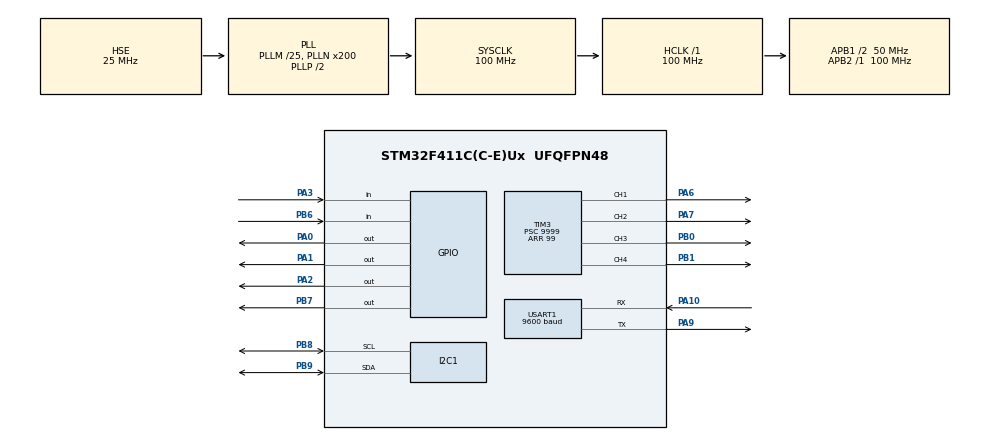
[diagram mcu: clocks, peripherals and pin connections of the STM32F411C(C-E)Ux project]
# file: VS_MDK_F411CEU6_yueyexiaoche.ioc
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Dma.Request0=USART1_RX
Dma.USART1_RX.0.Direction=DMA_PERIPH_TO_MEMORY
Dma.USART1_RX.0.FIFOMode=DMA_FIFOMODE_DISABLE
Dma.USART1_RX.0.Instance=DMA2_Stream2
Dma.USART1_RX.0.MemDataAlignment=DMA_MDATAALIGN_BYTE
Dma.USART1_RX.0.MemInc=DMA_MINC_ENABLE
Dma.USART1_RX.0.Mode=DMA_NORMAL
Dma.USART1_RX.0.PeriphDataAlignment=DMA_PDATAALIGN_BYTE
Dma.USART1_RX.0.PeriphInc=DMA_PINC_DISABLE
Dma.USART1_RX.0.Priority=DMA_PRIORITY_LOW
FREERTOS.BinarySemaphores01=Juli,Dynamic,NULL,Available
FREERTOS.Mutexes01=Shoujifasong,Dynamic,NULL,Available
FREERTOS.Queues01=Zonghuiduzhi,1,uint32_t,0,Dynamic,NULL,NULL;AX,1,int32_t,0,Dynamic,NULL,NULL;AY,1,int32_t,0,Dynamic,NULL,NULL;GZ,1,int32_t,0,Dynamic,NULL,NULL;H1,1,uint8_t,0,Dynamic,NULL,NULL;H2,1,uint8_t,0,Dynamic,NULL,NULL;H3,1,uint8_t,0,Dynamic,NULL,NULL;H4,1,uint8_t,0,Dynamic,NULL,NULL;H5,1,uint8_t,0,Dynamic,NULL,NULL;H6,1,uint8_t,0,Dynamic,NULL,NULL;H7,1,uint8_t,0,Dynamic,NULL,NULL;H8,1,uint8_t,0,Dynamic,NULL,NULL
FREERTOS.Tasks01=Chaoshenbo,38,256,StartChaoshenbo,Default,NULL,Dynamic,NULL,NULL;Huidu,29,256,StartHuidu,Default,NULL,Dynamic,NULL,NULL;Tuoluoyi,28,512,StartTuoluoyi,Default,NULL,Dynamic,NULL,NULL;Yundong,48,512,StartYundong,Default,NULL,Dynamic,NULL,NULL;Lanyatouchuan,9,512,StartLanyatouchuan,Default,NULL,Dynamic,NULL,NULL;Yaokong,52,1024,StartYaokong,Default,NULL,Dynamic,NULL,NULL;Qiehuan,19,256,StartQiehuan,Default,NULL,Dynamic,NULL,NULL;Jieshou,22,300,StartJieshou,Default,NULL,Dynamic,NULL,NULL
FREERTOS.configENABLE_FPU=1
FREERTOS.configTOTAL_HEAP_SIZE=19960
Mcu.Family=STM32F4
Mcu.Name=STM32F411C(C-E)Ux
Mcu.Package=UFQFPN48
NVIC.DMA2_Stream2_IRQn=true\:5\:0\:false\:false\:true\:true\:false\:true\:true
NVIC.I2C1_ER_IRQn=true\:5\:0\:false\:false\:true\:true\:true\:true\:true
NVIC.I2C1_EV_IRQn=true\:5\:0\:false\:false\:true\:true\:true\:true\:true
NVIC.PriorityGroup=NVIC_PRIORITYGROUP_4
NVIC.TIM1_UP_TIM10_IRQn=true\:15\:0\:false\:false\:true\:false\:false\:true\:true
NVIC.TimeBase=TIM1_UP_TIM10_IRQn
NVIC.TimeBaseIP=TIM10
NVIC.USART1_IRQn=true\:5\:0\:false\:false\:true\:true\:true\:true\:true
PA0-WKUP.GPIO_Speed=GPIO_SPEED_FREQ_HIGH
PA0-WKUP.Signal=GPIO_Output
PA1.GPIO_Speed=GPIO_SPEED_FREQ_HIGH
PA1.Signal=GPIO_Output
PA10.Mode=Asynchronous
PA10.Signal=USART1_RX
PA13.Mode=Serial_Wire
PA13.Signal=SYS_JTMS-SWDIO
PA14.Mode=Serial_Wire
PA14.Signal=SYS_JTCK-SWCLK
PA2.GPIO_Speed=GPIO_SPEED_FREQ_HIGH
PA2.Signal=GPIO_Output
PA3.Signal=GPIO_Input
PA6.Signal=S_TIM3_CH1
PA7.Signal=S_TIM3_CH2
PA9.Mode=Asynchronous
PA9.Signal=USART1_TX
PB0.Signal=S_TIM3_CH3
PB1.Signal=S_TIM3_CH4
PB6.Signal=GPIO_Input
PB7.GPIO_Speed=GPIO_SPEED_FREQ_HIGH
PB7.Signal=GPIO_Output
PB8.GPIO_Pu=GPIO_PULLUP
PB8.GPIO_Speed=GPIO_SPEED_FREQ_HIGH
PB8.Mode=I2C
PB8.Signal=I2C1_SCL
PB9.GPIO_Pu=GPIO_PULLUP
PB9.GPIO_Speed=GPIO_SPEED_FREQ_HIGH
PB9.Mode=I2C
PB9.Signal=I2C1_SDA
PC14-OSC32_IN.Mode=LSE-External-Oscillator
PC14-OSC32_IN.Signal=RCC_OSC32_IN
PC15-OSC32_OUT.Mode=LSE-External-Oscillator
PC15-OSC32_OUT.Signal=RCC_OSC32_OUT
PH0\ -\ OSC_IN.Mode=HSE-External-Oscillator
PH0\ -\ OSC_IN.Signal=RCC_OSC_IN
PH1\ -\ OSC_OUT.Mode=HSE-External-Oscillator
PH1\ -\ OSC_OUT.Signal=RCC_OSC_OUT
ProjectManager.HeapSize=0x200
ProjectManager.StackSize=0x400
ProjectManager.TargetToolchain=MDK-ARM V5.32
RCC.48MHZClocksFreq_Value=50000000
RCC.AHBFreq_Value=100000000
RCC.APB1CLKDivider=RCC_HCLK_DIV2
RCC.APB1Freq_Value=50000000
RCC.APB1TimFreq_Value=100000000
RCC.APB2Freq_Value=100000000
RCC.APB2TimFreq_Value=100000000
RCC.CortexFreq_Value=100000000
RCC.HCLKFreq_Value=100000000
RCC.HSE_VALUE=25000000
RCC.HSI_VALUE=16000000
RCC.PLLM=25
RCC.PLLN=200
RCC.PLLSourceVirtual=RCC_PLLSOURCE_HSE
RCC.SYSCLKFreq_VALUE=100000000
RCC.SYSCLKSource=RCC_SYSCLKSOURCE_PLLCLK
RCC.VCOOutputFreq_Value=200000000
SH.S_TIM3_CH1.0=TIM3_CH1,PWM Generation1 CH1
SH.S_TIM3_CH2.0=TIM3_CH2,PWM Generation2 CH2
SH.S_TIM3_CH3.0=TIM3_CH3,PWM Generation3 CH3
SH.S_TIM3_CH4.0=TIM3_CH4,PWM Generation4 CH4
TIM11.Prescaler=99
TIM3.Channel-PWM\ Generation1\ CH1=TIM_CHANNEL_1
TIM3.Channel-PWM\ Generation2\ CH2=TIM_CHANNEL_2
TIM3.Channel-PWM\ Generation3\ CH3=TIM_CHANNEL_3
TIM3.Channel-PWM\ Generation4\ CH4=TIM_CHANNEL_4
TIM3.Period=99
TIM3.Prescaler=9999
USART1.BaudRate=9600
USART1.VirtualMode=VM_ASYNC
VP_FREERTOS_VS_CMSIS_V2.Mode=CMSIS_V2
VP_SYS_VS_tim10.Mode=TIM10
VP_TIM11_VS_ClockSourceINT.Mode=Enable_Timer
VP_TIM3_VS_ClockSourceINT.Mode=Internal
board=custom

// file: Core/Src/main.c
/* USER CODE BEGIN Header */
/**
  ******************************************************************************
  * @file           : main.c
  * @brief          : Main program body
  ******************************************************************************
  * @attention
  *
  * Copyright (c) 2026 STMicroelectronics.
  * All rights reserved.
  *
  * This software is licensed under terms that can be found in the LICENSE file
  * in the root directory of this software component.
  * If no LICENSE file comes with this software, it is provided AS-IS.
  *
  ******************************************************************************
  */
/* USER CODE END Header */
#include "main.h"
#include "cmsis_os.h"

/* USER CODE BEGIN Includes */

#include "cmsis_os2.h"
#include "stm32f4xx_hal_tim.h"
#include "han_shu.h"
#include "stm32f4xx_hal_uart.h"
#include <stdint.h>
#include <string.h>
#include <stdio.h>
#include <stdarg.h>

//#include <sys/_intsup.h>

//cmake --build build/Debug --target flash

/* USER CODE END Includes */

I2C_HandleTypeDef hi2c1;

TIM_HandleTypeDef htim3;
TIM_HandleTypeDef htim11;

UART_HandleTypeDef huart1;
DMA_HandleTypeDef hdma_usart1_rx;

/* Definitions for Chaoshenbo */
osThreadId_t ChaoshenboHandle;
const osThreadAttr_t Chaoshenbo_attributes = {
  .name = "Chaoshenbo",
  .stack_size = 256 * 4,
  .priority = (osPriority_t) osPriorityAboveNormal6,
};
/* Definitions for Huidu */
osThreadId_t HuiduHandle;
const osThreadAttr_t Huidu_attributes = {
  .name = "Huidu",
  .stack_size = 256 * 4,
  .priority = (osPriority_t) osPriorityNormal5,
};
/* Definitions for Tuoluoyi */
osThreadId_t TuoluoyiHandle;
const osThreadAttr_t Tuoluoyi_attributes = {
  .name = "Tuoluoyi",
  .stack_size = 512 * 4,
  .priority = (osPriority_t) osPriorityNormal4,
};
/* Definitions for Yundong */
osThreadId_t YundongHandle;
const osThreadAttr_t Yundong_attributes = {
  .name = "Yundong",
  .stack_size = 512 * 4,
  .priority = (osPriority_t) osPriorityRealtime,
};
/* Definitions for Lanyatouchuan */
osThreadId_t LanyatouchuanHandle;
const osThreadAttr_t Lanyatouchuan_attributes = {
  .name = "Lanyatouchuan",
  .stack_size = 512 * 4,
  .priority = (osPriority_t) osPriorityLow1,
};
/* Definitions for Yaokong */
osThreadId_t YaokongHandle;
const osThreadAttr_t Yaokong_attributes = {
  .name = "Yaokong",
  .stack_size = 1024 * 4,
  .priority = (osPriority_t) osPriorityRealtime4,
};
/* Definitions for Qiehuan */
osThreadId_t QiehuanHandle;
const osThreadAttr_t Qiehuan_attributes = {
  .name = "Qiehuan",
  .stack_size = 256 * 4,
  .priority = (osPriority_t) osPriorityBelowNormal3,
};
/* Definitions for Jieshou */
osThreadId_t JieshouHandle;
const osThreadAttr_t Jieshou_attributes = {
  .name = "Jieshou",
  .stack_size = 300 * 4,
  .priority = (osPriority_t) osPriorityBelowNormal6,
};
/* Definitions for Zonghuiduzhi */
osMessageQueueId_t ZonghuiduzhiHandle;
const osMessageQueueAttr_t Zonghuiduzhi_attributes = {
  .name = "Zonghuiduzhi"
};
/* Definitions for AX */
osMessageQueueId_t AXHandle;
const osMessageQueueAttr_t AX_attributes = {
  .name = "AX"
};
/* Definitions for AY */
osMessageQueueId_t AYHandle;
const osMessageQueueAttr_t AY_attributes = {
  .name = "AY"
};
/* Definitions for GZ */
osMessageQueueId_t GZHandle;
const osMessageQueueAttr_t GZ_attributes = {
  .name = "GZ"
};
/* Definitions for Shoujifasong */
osMutexId_t ShoujifasongHandle;
const osMutexAttr_t Shoujifasong_attributes = {
  .name = "Shoujifasong"
};
/* Definitions for Juli */
osSemaphoreId_t JuliHandle;
const osSemaphoreAttr_t Juli_attributes = {
  .name = "Juli"
};
/* USER CODE BEGIN PV */

//extern volatile int yuansudu = 60;//电机基础转速(原始速度), 作为Dianjisudu()的速度基准值
//extern CARSTATE CarState = STATE_XUNJI;  // 初始状态为循迹

volatile uint32_t zhi_2;   //全局变量，存储从消息队列中获取的值，以便在Yundong线程中使用

// --- DMA 非阻塞 printf 相关 ---
DMA_HandleTypeDef hdma_usart1_tx;               // USART1_TX DMA 句柄
static char debug_tx_buf[384];                   // 格式化缓冲区
static volatile uint8_t debug_tx_busy = 0;       // DMA 发送忙标志
volatile int16_t AX,AY,GZ;  //全局变量，存储加速度和陀螺仪原始值，以便在Tuoluoyi线程中使用
volatile int16_t ax,ay,gz;  //全局变量，存储从消息队列中获取的加速度和陀螺仪原始值，以便在Lanyatouchuan线程中使用
volatile uint8_t yaokong_flag=0;  //全局变量，存储遥控标志，以便在Yaokong线程中使用
volatile char Serial_RxPacket[20];  //全局变量，存储从串口接收的数据，以便在Yaokong线程中使用
volatile uint8_t RxFlag;  //全局变量，存储接收空闲中断标志
volatile uint8_t RxFlag_begin;  //全局变量，存储接收开始标志
volatile uint8_t RxCount=0;  //全局变量，存储接收数据的计数，以便在USART1_IRQHandler中使用

/* USER CODE END PV */

void SystemClock_Config(void);
static void MX_GPIO_Init(void);
static void MX_DMA_Init(void);
static void MX_TIM3_Init(void);
static void MX_TIM11_Init(void);
static void MX_I2C1_Init(void);
static void MX_USART1_UART_Init(void);
void StartChaoshenbo(void *argument);
void StartHuidu(void *argument);
void StartTuoluoyi(void *argument);
void StartYundong(void *argument);
void StartLanyatouchuan(void *argument);
void StartYaokong(void *argument);
void StartQiehuan(void *argument);
void StartJieshou(void *argument);

/* USER CODE BEGIN PFP */

/* DMA非阻塞调试输出函数前置声明 */
void debug_printf(const char *fmt, ...);

/* USER CODE END PFP */

int main(void)
{

  /* MCU Configuration--------------------------------------------------------*/

  /* Reset of all peripherals, Initializes the Flash interface and the Systick. */
  HAL_Init();

  /* Configure the system clock */
  SystemClock_Config();

  /* USER CODE BEGIN SysInit */
  // 调试模式下保持 TIM10/TIM11 继续计数
  __HAL_DBGMCU_FREEZE_TIM10();   // HAL 时钟基准（uwTick）
  __HAL_DBGMCU_FREEZE_TIM11();   // 超声波测距超时
  /* USER CODE END SysInit */

  /* Initialize all configured peripherals */
  MX_GPIO_Init();
  MX_DMA_Init();
  MX_TIM3_Init();
  MX_TIM11_Init();
  MX_I2C1_Init();
  MX_USART1_UART_Init();
  /* USER CODE BEGIN 2 */

HAL_TIM_PWM_Start(&htim3,TIM_CHANNEL_1);
HAL_TIM_PWM_Start(&htim3,TIM_CHANNEL_2);
HAL_TIM_PWM_Start(&htim3,TIM_CHANNEL_3);
HAL_TIM_PWM_Start(&htim3,TIM_CHANNEL_4);

HAL_TIM_Base_Start(&htim11);

__HAL_UART_ENABLE_IT(&huart1, UART_IT_IDLE);
HAL_UART_Receive_DMA(&huart1, (uint8_t*)Serial_RxPacket, sizeof(Serial_RxPacket));
debug_printf("System Initialized\r\n");
  debug_printf("System \r\n");

  /* USER CODE END 2 */

  /* Init scheduler */
  osKernelInitialize();
  /* Create the mutex(es) */
  /* creation of Shoujifasong */
  ShoujifasongHandle = osMutexNew(&Shoujifasong_attributes);

  /* Create the semaphores(s) */
  /* creation of Juli */
  JuliHandle = osSemaphoreNew(1, 0, &Juli_attributes);

  /* Create the queue(s) */
  /* creation of Zonghuiduzhi */
  ZonghuiduzhiHandle = osMessageQueueNew (1, sizeof(uint32_t), &Zonghuiduzhi_attributes);

  /* creation of AX */
  AXHandle = osMessageQueueNew (1, sizeof(int32_t), &AX_attributes);

  /* creation of AY */
  AYHandle = osMessageQueueNew (1, sizeof(int32_t), &AY_attributes);

  /* creation of GZ */
  GZHandle = osMessageQueueNew (1, sizeof(int32_t), &GZ_attributes);

  /* Create the thread(s) */
  /* creation of Chaoshenbo */
  ChaoshenboHandle = osThreadNew(StartChaoshenbo, NULL, &Chaoshenbo_attributes);

  /* creation of Huidu */
  HuiduHandle = osThreadNew(StartHuidu, NULL, &Huidu_attributes);

  /* creation of Tuoluoyi */
  TuoluoyiHandle = osThreadNew(StartTuoluoyi, NULL, &Tuoluoyi_attributes);

  /* creation of Yundong */
  YundongHandle = osThreadNew(StartYundong, NULL, &Yundong_attributes);

  /* creation of Lanyatouchuan */
  LanyatouchuanHandle = osThreadNew(StartLanyatouchuan, NULL, &Lanyatouchuan_attributes);

  /* creation of Yaokong */
  YaokongHandle = osThreadNew(StartYaokong, NULL, &Yaokong_attributes);

  /* creation of Qiehuan */
  QiehuanHandle = osThreadNew(StartQiehuan, NULL, &Qiehuan_attributes);

  /* creation of Jieshou */
  JieshouHandle = osThreadNew(StartJieshou, NULL, &Jieshou_attributes);

  /* Start scheduler */
  osKernelStart();

  /* We should never get here as control is now taken by the scheduler */

  /* Infinite loop */
  while (1)
  {

  }
}

void SystemClock_Config(void)
{
  RCC_OscInitTypeDef RCC_OscInitStruct = {0};
  RCC_ClkInitTypeDef RCC_ClkInitStruct = {0};

  /** Configure the main internal regulator output voltage
  */
  __HAL_RCC_PWR_CLK_ENABLE();
  __HAL_PWR_VOLTAGESCALING_CONFIG(PWR_REGULATOR_VOLTAGE_SCALE1);

  /** Initializes the RCC Oscillators according to the specified parameters
  * in the RCC_OscInitTypeDef structure.
  */
  RCC_OscInitStruct.OscillatorType = RCC_OSCILLATORTYPE_HSE;
  RCC_OscInitStruct.HSEState = RCC_HSE_ON;
  RCC_OscInitStruct.PLL.PLLState = RCC_PLL_ON;
  RCC_OscInitStruct.PLL.PLLSource = RCC_PLLSOURCE_HSE;
  RCC_OscInitStruct.PLL.PLLM = 25;
  RCC_OscInitStruct.PLL.PLLN = 200;
  RCC_OscInitStruct.PLL.PLLP = RCC_PLLP_DIV2;
  RCC_OscInitStruct.PLL.PLLQ = 4;
  if (HAL_RCC_OscConfig(&RCC_OscInitStruct) != HAL_OK)
  {
    Error_Handler();
  }

  /** Initializes the CPU, AHB and APB buses clocks
  */
  RCC_ClkInitStruct.ClockType = RCC_CLOCKTYPE_HCLK|RCC_CLOCKTYPE_SYSCLK
                              |RCC_CLOCKTYPE_PCLK1|RCC_CLOCKTYPE_PCLK2;
  RCC_ClkInitStruct.SYSCLKSource = RCC_SYSCLKSOURCE_PLLCLK;
  RCC_ClkInitStruct.AHBCLKDivider = RCC_SYSCLK_DIV1;
  RCC_ClkInitStruct.APB1CLKDivider = RCC_HCLK_DIV2;
  RCC_ClkInitStruct.APB2CLKDivider = RCC_HCLK_DIV1;

  if (HAL_RCC_ClockConfig(&RCC_ClkInitStruct, FLASH_LATENCY_3) != HAL_OK)
  {
    Error_Handler();
  }
}

static void MX_I2C1_Init(void)
{

  hi2c1.Instance = I2C1;
  hi2c1.Init.ClockSpeed = 100000;
  hi2c1.Init.DutyCycle = I2C_DUTYCYCLE_2;
  hi2c1.Init.OwnAddress1 = 0;
  hi2c1.Init.AddressingMode = I2C_ADDRESSINGMODE_7BIT;
  hi2c1.Init.DualAddressMode = I2C_DUALADDRESS_DISABLE;
  hi2c1.Init.OwnAddress2 = 0;
  hi2c1.Init.GeneralCallMode = I2C_GENERALCALL_DISABLE;
  hi2c1.Init.NoStretchMode = I2C_NOSTRETCH_DISABLE;
  if (HAL_I2C_Init(&hi2c1) != HAL_OK)
  {
    Error_Handler();
  }

}

static void MX_TIM3_Init(void)
{

  TIM_ClockConfigTypeDef sClockSourceConfig = {0};
  TIM_MasterConfigTypeDef sMasterConfig = {0};
  TIM_OC_InitTypeDef sConfigOC = {0};

  htim3.Instance = TIM3;
  htim3.Init.Prescaler = 9999;
  htim3.Init.CounterMode = TIM_COUNTERMODE_UP;
  htim3.Init.Period = 99;
  htim3.Init.ClockDivision = TIM_CLOCKDIVISION_DIV1;
  htim3.Init.AutoReloadPreload = TIM_AUTORELOAD_PRELOAD_DISABLE;
  if (HAL_TIM_Base_Init(&htim3) != HAL_OK)
  {
    Error_Handler();
  }
  sClockSourceConfig.ClockSource = TIM_CLOCKSOURCE_INTERNAL;
  if (HAL_TIM_ConfigClockSource(&htim3, &sClockSourceConfig) != HAL_OK)
  {
    Error_Handler();
  }
  if (HAL_TIM_PWM_Init(&htim3) != HAL_OK)
  {
    Error_Handler();
  }
  sMasterConfig.MasterOutputTrigger = TIM_TRGO_RESET;
  sMasterConfig.MasterSlaveMode = TIM_MASTERSLAVEMODE_DISABLE;
  if (HAL_TIMEx_MasterConfigSynchronization(&htim3, &sMasterConfig) != HAL_OK)
  {
    Error_Handler();
  }
  sConfigOC.OCMode = TIM_OCMODE_PWM1;
  sConfigOC.Pulse = 0;
  sConfigOC.OCPolarity = TIM_OCPOLARITY_HIGH;
  sConfigOC.OCFastMode = TIM_OCFAST_DISABLE;
  if (HAL_TIM_PWM_ConfigChannel(&htim3, &sConfigOC, TIM_CHANNEL_1) != HAL_OK)
  {
    Error_Handler();
  }
  if (HAL_TIM_PWM_ConfigChannel(&htim3, &sConfigOC, TIM_CHANNEL_2) != HAL_OK)
  {
    Error_Handler();
  }
  if (HAL_TIM_PWM_ConfigChannel(&htim3, &sConfigOC, TIM_CHANNEL_3) != HAL_OK)
  {
    Error_Handler();
  }
  if (HAL_TIM_PWM_ConfigChannel(&htim3, &sConfigOC, TIM_CHANNEL_4) != HAL_OK)
  {
    Error_Handler();
  }
  HAL_TIM_MspPostInit(&htim3);

}

static void MX_TIM11_Init(void)
{

  htim11.Instance = TIM11;
  htim11.Init.Prescaler = 99;
  htim11.Init.CounterMode = TIM_COUNTERMODE_UP;
  htim11.Init.Period = 65535;
  htim11.Init.ClockDivision = TIM_CLOCKDIVISION_DIV1;
  htim11.Init.AutoReloadPreload = TIM_AUTORELOAD_PRELOAD_DISABLE;
  if (HAL_TIM_Base_Init(&htim11) != HAL_OK)
  {
    Error_Handler();
  }

}

static void MX_USART1_UART_Init(void)
{

  huart1.Instance = USART1;
  huart1.Init.BaudRate = 9600;
  huart1.Init.WordLength = UART_WORDLENGTH_8B;
  huart1.Init.StopBits = UART_STOPBITS_1;
  huart1.Init.Parity = UART_PARITY_NONE;
  huart1.Init.Mode = UART_MODE_TX_RX;
  huart1.Init.HwFlowCtl = UART_HWCONTROL_NONE;
  huart1.Init.OverSampling = UART_OVERSAMPLING_16;
  if (HAL_UART_Init(&huart1) != HAL_OK)
  {
    Error_Handler();
  }

}

static void MX_DMA_Init(void)
{

  /* DMA controller clock enable */
  __HAL_RCC_DMA2_CLK_ENABLE();

  /* DMA interrupt init */
  /* DMA2_Stream2_IRQn interrupt configuration */
  HAL_NVIC_SetPriority(DMA2_Stream2_IRQn, 5, 0);
  HAL_NVIC_EnableIRQ(DMA2_Stream2_IRQn);

}

static void MX_GPIO_Init(void)
{
  GPIO_InitTypeDef GPIO_InitStruct = {0};

  /* GPIO Ports Clock Enable */
  __HAL_RCC_GPIOC_CLK_ENABLE();
  __HAL_RCC_GPIOH_CLK_ENABLE();
  __HAL_RCC_GPIOA_CLK_ENABLE();
  __HAL_RCC_GPIOB_CLK_ENABLE();

  /*Configure GPIO pin Output Level */
  HAL_GPIO_WritePin(GPIOA, GPIO_PIN_0|GPIO_PIN_1|GPIO_PIN_2, GPIO_PIN_RESET);

  /*Configure GPIO pin Output Level */
  HAL_GPIO_WritePin(GPIOB, GPIO_PIN_7, GPIO_PIN_RESET);

  /*Configure GPIO pins : PA0 PA1 PA2 */
  GPIO_InitStruct.Pin = GPIO_PIN_0|GPIO_PIN_1|GPIO_PIN_2;
  GPIO_InitStruct.Mode = GPIO_MODE_OUTPUT_PP;
  GPIO_InitStruct.Pull = GPIO_NOPULL;
  GPIO_InitStruct.Speed = GPIO_SPEED_FREQ_HIGH;
  HAL_GPIO_Init(GPIOA, &GPIO_InitStruct);

  /*Configure GPIO pin : PA3 */
  GPIO_InitStruct.Pin = GPIO_PIN_3;
  GPIO_InitStruct.Mode = GPIO_MODE_INPUT;
  GPIO_InitStruct.Pull = GPIO_NOPULL;
  HAL_GPIO_Init(GPIOA, &GPIO_InitStruct);

  /*Configure GPIO pin : PB6 */
  GPIO_InitStruct.Pin = GPIO_PIN_6;
  GPIO_InitStruct.Mode = GPIO_MODE_INPUT;
  GPIO_InitStruct.Pull = GPIO_NOPULL;
  HAL_GPIO_Init(GPIOB, &GPIO_InitStruct);

  /*Configure GPIO pin : PB7 */
  GPIO_InitStruct.Pin = GPIO_PIN_7;
  GPIO_InitStruct.Mode = GPIO_MODE_OUTPUT_PP;
  GPIO_InitStruct.Pull = GPIO_NOPULL;
  GPIO_InitStruct.Speed = GPIO_SPEED_FREQ_HIGH;
  HAL_GPIO_Init(GPIOB, &GPIO_InitStruct);

}

/* USER CODE BEGIN 4 */

// ===== DMA 非阻塞 printf =====
void HAL_UART_TxCpltCallback(UART_HandleTypeDef *huart)
{
    if(huart->Instance == USART1) {
        debug_tx_busy = 0;  // DMA 发送完成
    }
}

void debug_printf(const char *fmt, ...)
{
    if(debug_tx_busy) return;  // 上次 DMA 还没发完，丢掉这一帧

    va_list args;
    va_start(args, fmt);
    vsnprintf(debug_tx_buf, sizeof(debug_tx_buf), fmt, args);
    va_end(args);

    uint16_t len = strlen(debug_tx_buf);
    if(len > 0) {
        debug_tx_busy = 1;
        HAL_UART_Transmit_DMA(&huart1, (uint8_t*)debug_tx_buf, len);
    }
}

// ===== 阻塞 printf（保留，某些库代码可能还会调用） =====
int fputc(int ch, FILE *f)
{
  HAL_UART_Transmit(&huart1, (uint8_t *)&ch, 1, 100);
  return ch;
}

int fgetc(FILE *f)
{
  uint8_t ch;
  HAL_UART_Receive(&huart1, &ch, 1, 100);
  return ch;
}

/* USER CODE END 4 */

void StartChaoshenbo(void *argument)
{
  /* USER CODE BEGIN 5 */
  float distance=0;
  /* Infinite loop */
  for(;;)
  {
    if(yaokong_flag==0)
    {
     distance = chaoshenboceju();
    debug_printf("chaoshenbo=%04d", (int)distance);   //在串口监视器上显示距离值，方便调试
    if(distance<15)
    {
      osDelay(10);
      distance = chaoshenboceju();    //再次测距确认
      if(distance<15)
      {
        osSemaphoreRelease(JuliHandle);   //释放距离信号量，通知Yundong线程进行避障
      }
    }
  }
    osDelay(60);
  }
  /* USER CODE END 5 */
}

void StartHuidu(void *argument)
{
  /* USER CODE BEGIN StartHuidu */
  /* Infinite loop */
  for(;;)
  {
    if(yaokong_flag==0)
    {

    uint32_t zhi_1=zonghuiduzhi();
    osMessageQueuePut(ZonghuiduzhiHandle, &zhi_1, 0, 0);    //将总灰度值放入消息队列，供Yundong线程使用

    for(int i=0;i<8;i++)
    {
      uint8_t H[8];
      H[i]=huiduzhi(i);
      debug_printf("[display,%d,54,%d],", i * 15, H[i]);   //在串口监视器上显示每个灰度传感器通道的读取值，方便调试
    }
    }
    osDelay(5);
  }
  /* USER CODE END StartHuidu */
}

void StartTuoluoyi(void *argument)
{
  /* USER CODE BEGIN StartTuoluoyi */
  /* Infinite loop */
  for(;;)
  {
    if(yaokong_flag==0)
    {

        MPU6050_Data data;
    MPU6050_ReadFiltered(&data);
    AY=data.raw_accel_y;
    osMessageQueuePut(AYHandle, (void*)&AY, 0, 0);
    AX=data.raw_accel_x;
    osMessageQueuePut(AXHandle, (void*)&AX, 0, 0);
    GZ=data.raw_gyro_z;
    osMessageQueuePut(GZHandle, (void*)&GZ, 0, 0);    //将加速度和陀螺仪原始值放入消息队列

    xiapo();   //调用下坡函数，根据加速度和陀螺仪数据进行下坡处理，提升小车在下坡时的稳定性
  }
    osDelay(10);
  }
  /* USER CODE END StartTuoluoyi */
}

void StartYundong(void *argument)
{
  /* USER CODE BEGIN StartYundong */

  /* Infinite loop */
  for(;;)
  {
    if(yaokong_flag==0)
    {

    if(osSemaphoreAcquire(JuliHandle, 0) == osOK)
    {
      Dianjisudu(0, 0);
      osDelay(200);
      Xuanzhuan(180);   //如果距离小于15cm，先原地转180度
      osDelay(500);
    }
    else {
      if(osMessageQueueGet(ZonghuiduzhiHandle, (void*)&zhi_2, NULL, 0) == osOK)
      {
        shizilukou();   //执行十字路口处理函数
    xunji(zhi_2);   //根据总灰度值执行对应的运动命令
      }
  }
}

  osDelay(15);
}
  /* USER CODE END StartYundong */
}

void StartLanyatouchuan(void *argument)
{
  /* USER CODE BEGIN StartLanyatouchuan */
  /* Infinite loop */
  for(;;)
  {
    if(yaokong_flag==0)
    {
      debug_printf("[plot,%d,%d,%d]",ax,ay,gz);
      debug_printf("[display,0,0,AX:%05d],[display,0,18,AY:%05d],[display,0,36,GZ:%05d]",ax,ay,gz);
          //合并显示命令，减少串口输出次数，提高效率
  }
    osDelay(1);
  }
  /* USER CODE END StartLanyatouchuan */
}

void StartYaokong(void *argument)
{
  /* USER CODE BEGIN StartYaokong */
  /* Infinite loop */
  for(;;)
  {
    if(yaokong_flag==1)
    {

      if (osMutexAcquire(ShoujifasongHandle, osWaitForever) == osOK)    //获取互斥锁，确保安全访问Serial_RxPacket
      {
    if(strcmp((const char*)Serial_RxPacket, "qian") == 0 )		//前进
    {
      Dianjisudu(100, 100);
    }
    else if(strcmp((const char*)Serial_RxPacket, "hou") == 0 )	//后退
    {
      Dianjisudu(-100, -100);
    }
    else if(strcmp((const char*)Serial_RxPacket, "zuozhuan") == 0 )	//左转
    {
      Dianjisudu(-100, 100);
    }
    else if(strcmp((const char*)Serial_RxPacket, "youzhuan") == 0 )	//右转
    {
      Dianjisudu(100, -100);
    }
    else if(strcmp((const char*)Serial_RxPacket, "zuoyi") == 0 )	//停止
    {
      Dianjisudu(50, 100);
    }
    else if(strcmp((const char*)Serial_RxPacket, "youyi") == 0 )	//停止
    {
      Dianjisudu(100, 50);
    }
    else {
      Dianjisudu(0, 0);
    }
    osMutexRelease(ShoujifasongHandle);   //释放互斥锁
  }
}
    osDelay(50);
  }
  /* USER CODE END StartYaokong */
}

void StartQiehuan(void *argument)
{
  /* USER CODE BEGIN StartQiehuan */
  /* Infinite loop */
  for(;;)
  {
    if (osMutexAcquire(ShoujifasongHandle, 100) == osOK)
    {
    if(strcmp((const char*)Serial_RxPacket, "kai")==0)
    {
      yaokong_flag=1;
    }
    else if(strcmp((const char*)Serial_RxPacket, "guan")==0)
    {
      yaokong_flag=0;
    }
    osMutexRelease(ShoujifasongHandle);
  }
    osDelay(50);
  }
  /* USER CODE END StartQiehuan */
}

void StartJieshou(void *argument)
{
  /* USER CODE BEGIN StartJieshou */
  /* Infinite loop */
  for(;;)
  {
        if(osMutexAcquire( ShoujifasongHandle, 100) == osOK)
    {
      if(RxFlag==1)
      {
        RxFlag=0;
        memset((void*)Serial_RxPacket, 0, sizeof(Serial_RxPacket));  // 清空缓冲区，防止新旧数据混合
        HAL_UART_Receive_DMA(&huart1, (uint8_t*)Serial_RxPacket, sizeof(Serial_RxPacket));  // 重新启动DMA接收，准备接收下一条命令
      }
    osMutexRelease(ShoujifasongHandle);
    }
    osDelay(50);
  }
  /* USER CODE END StartJieshou */
}

void HAL_TIM_PeriodElapsedCallback(TIM_HandleTypeDef *htim)
{
  if (htim->Instance == TIM10)
  {
    HAL_IncTick();
  }
}

void Error_Handler(void)
{
  __disable_irq();
  while (1)
  {
  }
}
